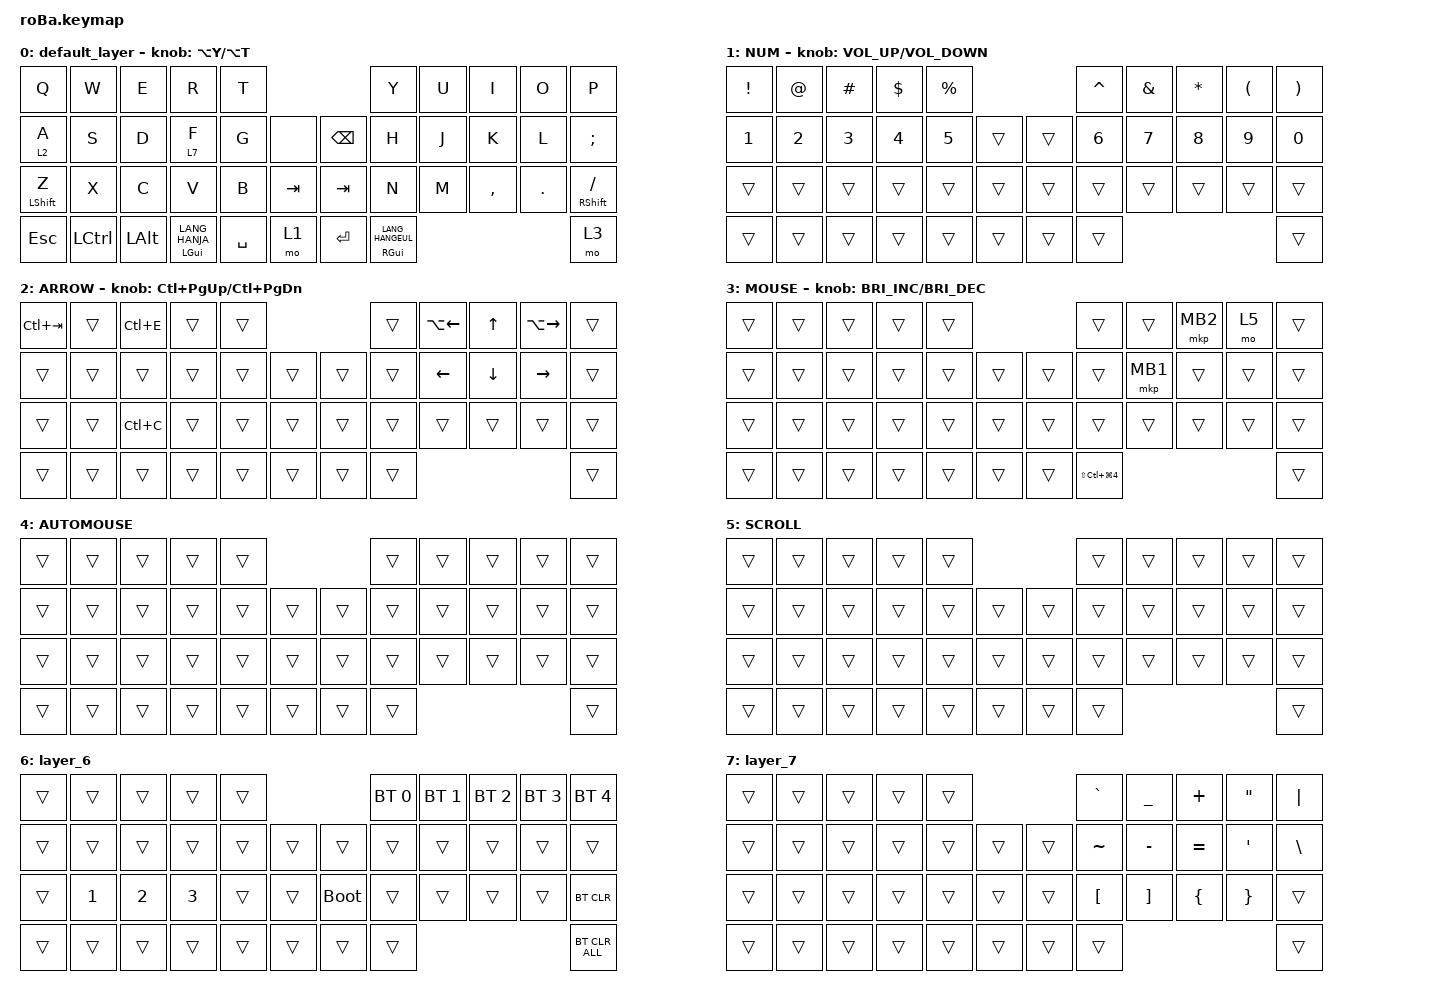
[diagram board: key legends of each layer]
#include <behaviors.dtsi>
#include <dt-bindings/zmk/bt.h>
#include <dt-bindings/zmk/keys.h>
#include <dt-bindings/zmk/pointing.h>

#define MOUSE 4
#define SCROLL 5
#define NUM 6

&mt {
    flavor = "balanced";
    quick-tap-ms = <0>;
};

/ {
    combos { compatible = "zmk,combos"; };

    macros {
        to_layer_0: to_layer_0 {
            compatible = "zmk,behavior-macro-one-param";
            #binding-cells = <1>;
            bindings = <&to 0 &macro_param_1to1 &kp MACRO_PLACEHOLDER>;
            label = "TO_LAYER_0";
        };
    };

    behaviors {
        lt_to_layer_0: lt_to_layer_0 {
            compatible = "zmk,behavior-hold-tap";
            label = "LAYER_TAP_TO_0";
            bindings = <&mo>, <&to_layer_0>;

            #binding-cells = <2>;
            tapping-term-ms = <200>;
        };
    };

    keymap {
        compatible = "zmk,keymap";

        default_layer {
            bindings = <
&kp Q             &kp W      &kp E         &kp R                &kp T                                  &kp Y                  &kp U  &kp I      &kp O    &kp P
&lt 2 A           &kp S      &kp D         &lt 7 F              &kp G      &none        &kp BACKSPACE  &kp H                  &kp J  &kp K      &kp L    &kp SEMICOLON
&mt LEFT_SHIFT Z  &kp X      &kp C         &kp V                &kp B      &kp TAB      &kp TAB        &kp N                  &kp M  &kp COMMA  &kp DOT  &mt RIGHT_SHIFT SLASH
&kp ESCAPE        &kp LCTRL  &kp LEFT_ALT  &mt LGUI LANG_HANJA  &kp SPACE  &mo 1        &kp ENTER      &mt RGUI LANG_HANGEUL                             &mo 3
            >;

            sensor-bindings = <&inc_dec_kp LA(Y) LA(T)>;
        };

        NUM {
            bindings = <
&kp EXCLAMATION  &kp AT        &kp HASH      &kp DOLLAR    &kp PERCENT                      &kp CARET     &kp AMPERSAND  &kp ASTERISK  &kp LEFT_PARENTHESIS  &kp RIGHT_PARENTHESIS
&kp NUMBER_1     &kp NUMBER_2  &kp NUMBER_3  &kp NUMBER_4  &kp N5       &trans      &trans  &kp NUMBER_6  &kp N7         &kp N8        &kp N9                &kp N0
&trans           &trans        &trans        &trans        &trans       &trans      &trans  &trans        &trans         &trans        &trans                &trans
&trans           &trans        &trans        &trans        &trans       &trans      &trans  &trans                                                           &trans
            >;

            sensor-bindings = <&inc_dec_kp C_VOLUME_UP C_VOLUME_DOWN>;
        };

        ARROW {
            bindings = <
&kp LC(TAB)  &trans  &kp LC(E)  &trans  &trans                      &trans  &kp LA(LEFT_ARROW)  &kp UP_ARROW  &kp LA(RIGHT_ARROW)  &trans
&trans       &trans  &trans     &trans  &trans  &trans      &trans  &trans  &kp LEFT_ARROW      &kp DOWN      &kp RIGHT_ARROW      &trans
&trans       &trans  &kp LC(C)  &trans  &trans  &trans      &trans  &trans  &trans              &trans        &trans               &trans
&trans       &trans  &trans     &trans  &trans  &trans      &trans  &trans                                                         &trans
            >;

            sensor-bindings = <&inc_dec_kp LC(PAGE_UP) LC(PAGE_DOWN)>;
        };

        MOUSE {
            bindings = <
&trans  &trans  &trans  &trans  &trans                      &trans                    &trans    &mkp MB2  &mo 5   &trans
&trans  &trans  &trans  &trans  &trans  &trans      &trans  &trans                    &mkp MB1  &trans    &trans  &trans
&trans  &trans  &trans  &trans  &trans  &trans      &trans  &trans                    &trans    &trans    &trans  &trans
&trans  &trans  &trans  &trans  &trans  &trans      &trans  &kp LS(LC(LG(NUMBER_4)))                              &trans
            >;

            sensor-bindings = <&inc_dec_kp C_BRIGHTNESS_INC C_BRIGHTNESS_DEC>;
        };

        AUTOMOUSE {
            bindings = <
&trans  &trans  &trans  &trans  &trans                      &trans  &trans  &trans  &trans  &trans
&trans  &trans  &trans  &trans  &trans  &trans      &trans  &trans  &trans  &trans  &trans  &trans
&trans  &trans  &trans  &trans  &trans  &trans      &trans  &trans  &trans  &trans  &trans  &trans
&trans  &trans  &trans  &trans  &trans  &trans      &trans  &trans                          &trans
            >;
        };

        SCROLL {
            bindings = <
&trans  &trans  &trans  &trans  &trans                      &trans  &trans  &trans  &trans  &trans
&trans  &trans  &trans  &trans  &trans  &trans      &trans  &trans  &trans  &trans  &trans  &trans
&trans  &trans  &trans  &trans  &trans  &trans      &trans  &trans  &trans  &trans  &trans  &trans
&trans  &trans  &trans  &trans  &trans  &trans      &trans  &trans                          &trans
            >;
        };

        layer_6 {
            bindings = <
&trans  &trans        &trans        &trans        &trans                           &bt BT_SEL 0  &bt BT_SEL 1  &bt BT_SEL 2  &bt BT_SEL 3  &bt BT_SEL 4
&trans  &trans        &trans        &trans        &trans  &trans      &trans       &trans        &trans        &trans        &trans        &trans
&trans  &kp NUMBER_1  &kp NUMBER_2  &kp NUMBER_3  &trans  &trans      &bootloader  &trans        &trans        &trans        &trans        &bt BT_CLR
&trans  &trans        &trans        &trans        &trans  &trans      &trans       &trans                                                  &bt BT_CLR_ALL
            >;
        };

        layer_7 {
            bindings = <
&trans  &trans  &trans  &trans  &trans                      &kp GRAVE         &kp UNDER          &kp PLUS        &kp DOUBLE_QUOTES  &kp PIPE
&trans  &trans  &trans  &trans  &trans  &trans      &trans  &kp TILDE         &kp MINUS          &kp EQUAL       &kp APOS           &kp BACKSLASH
&trans  &trans  &trans  &trans  &trans  &trans      &trans  &kp LEFT_BRACKET  &kp RIGHT_BRACKET  &kp LEFT_BRACE  &kp RIGHT_BRACE    &trans
&trans  &trans  &trans  &trans  &trans  &trans      &trans  &trans                                                                  &trans
            >;
        };
    };
};
